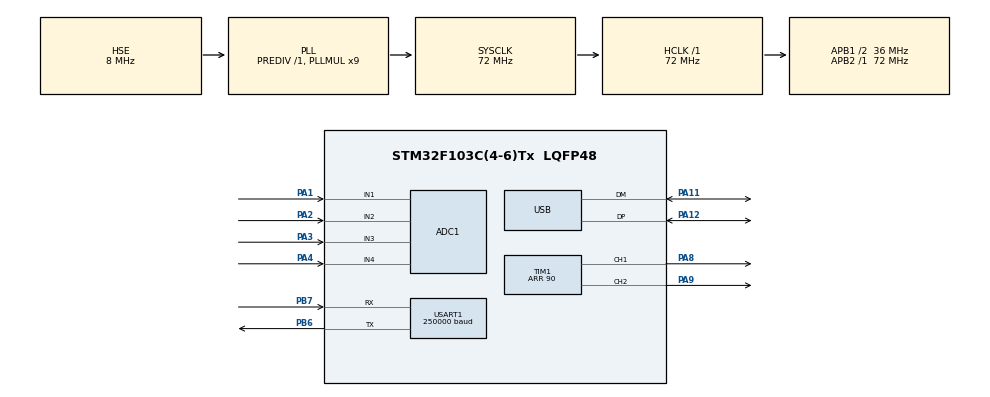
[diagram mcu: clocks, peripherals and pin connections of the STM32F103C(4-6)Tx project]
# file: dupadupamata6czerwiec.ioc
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ADC1.Channel-1\#ChannelRegularConversion=ADC_CHANNEL_1
ADC1.Channel-2\#ChannelRegularConversion=ADC_CHANNEL_2
ADC1.Channel-3\#ChannelRegularConversion=ADC_CHANNEL_3
ADC1.Channel-4\#ChannelRegularConversion=ADC_CHANNEL_4
ADC1.ContinuousConvMode=ENABLE
ADC1.NbrOfConversion=4
ADC1.NbrOfConversionFlag=1
ADC1.Rank-1\#ChannelRegularConversion=1
ADC1.Rank-2\#ChannelRegularConversion=2
ADC1.Rank-3\#ChannelRegularConversion=3
ADC1.Rank-4\#ChannelRegularConversion=4
ADC1.SamplingTime-1\#ChannelRegularConversion=ADC_SAMPLETIME_239CYCLES_5
ADC1.SamplingTime-2\#ChannelRegularConversion=ADC_SAMPLETIME_239CYCLES_5
ADC1.SamplingTime-3\#ChannelRegularConversion=ADC_SAMPLETIME_239CYCLES_5
ADC1.SamplingTime-4\#ChannelRegularConversion=ADC_SAMPLETIME_239CYCLES_5
ADC1.master=1
Dma.ADC1.0.Direction=DMA_PERIPH_TO_MEMORY
Dma.ADC1.0.Instance=DMA1_Channel1
Dma.ADC1.0.MemDataAlignment=DMA_MDATAALIGN_HALFWORD
Dma.ADC1.0.MemInc=DMA_MINC_ENABLE
Dma.ADC1.0.Mode=DMA_CIRCULAR
Dma.ADC1.0.PeriphDataAlignment=DMA_PDATAALIGN_HALFWORD
Dma.ADC1.0.PeriphInc=DMA_PINC_DISABLE
Dma.ADC1.0.Priority=DMA_PRIORITY_LOW
Dma.Request0=ADC1
Dma.Request1=TIM1_CH1
Dma.Request2=TIM1_CH2
Dma.TIM1_CH1.1.Direction=DMA_MEMORY_TO_PERIPH
Dma.TIM1_CH1.1.Instance=DMA1_Channel2
Dma.TIM1_CH1.1.MemDataAlignment=DMA_MDATAALIGN_HALFWORD
Dma.TIM1_CH1.1.MemInc=DMA_MINC_ENABLE
Dma.TIM1_CH1.1.Mode=DMA_CIRCULAR
Dma.TIM1_CH1.1.PeriphDataAlignment=DMA_PDATAALIGN_HALFWORD
Dma.TIM1_CH1.1.PeriphInc=DMA_PINC_DISABLE
Dma.TIM1_CH1.1.Priority=DMA_PRIORITY_LOW
Dma.TIM1_CH2.2.Direction=DMA_MEMORY_TO_PERIPH
Dma.TIM1_CH2.2.Instance=DMA1_Channel3
Dma.TIM1_CH2.2.MemDataAlignment=DMA_MDATAALIGN_HALFWORD
Dma.TIM1_CH2.2.MemInc=DMA_MINC_ENABLE
Dma.TIM1_CH2.2.Mode=DMA_CIRCULAR
Dma.TIM1_CH2.2.PeriphDataAlignment=DMA_PDATAALIGN_HALFWORD
Dma.TIM1_CH2.2.PeriphInc=DMA_PINC_DISABLE
Dma.TIM1_CH2.2.Priority=DMA_PRIORITY_LOW
Mcu.Family=STM32F1
Mcu.Name=STM32F103C(4-6)Tx
Mcu.Package=LQFP48
NVIC.DMA1_Channel1_IRQn=true\:0\:0\:false\:false\:true\:false\:true\:true
NVIC.DMA1_Channel2_IRQn=true\:0\:0\:false\:false\:true\:false\:true\:true
NVIC.DMA1_Channel3_IRQn=true\:0\:0\:false\:false\:true\:false\:true\:true
NVIC.PriorityGroup=NVIC_PRIORITYGROUP_4
NVIC.USART1_IRQn=true\:0\:0\:false\:false\:true\:true\:true\:true
NVIC.USB_LP_CAN1_RX0_IRQn=true\:0\:0\:false\:false\:true\:false\:true\:true
PA1.Signal=ADCx_IN1
PA11.Mode=Device
PA11.Signal=USB_DM
PA12.Mode=Device
PA12.Signal=USB_DP
PA13.Mode=Serial_Wire
PA13.Signal=SYS_JTMS-SWDIO
PA14.Mode=Serial_Wire
PA14.Signal=SYS_JTCK-SWCLK
PA2.Signal=ADCx_IN2
PA3.Signal=ADCx_IN3
PA4.Signal=ADCx_IN4
PA8.Signal=S_TIM1_CH1
PA9.Signal=S_TIM1_CH2
PB6.Mode=Asynchronous
PB6.Signal=USART1_TX
PB7.Mode=Asynchronous
PB7.Signal=USART1_RX
PD0-OSC_IN.Mode=HSE-External-Oscillator
PD0-OSC_IN.Signal=RCC_OSC_IN
PD1-OSC_OUT.Mode=HSE-External-Oscillator
PD1-OSC_OUT.Signal=RCC_OSC_OUT
ProjectManager.HeapSize=0x200
ProjectManager.StackSize=0x400
ProjectManager.TargetToolchain=STM32CubeIDE
RCC.ADCPresc=RCC_ADCPCLK2_DIV6
RCC.AHBFreq_Value=72000000
RCC.APB1CLKDivider=RCC_HCLK_DIV2
RCC.APB1Freq_Value=36000000
RCC.APB1TimFreq_Value=72000000
RCC.APB2Freq_Value=72000000
RCC.APB2TimFreq_Value=72000000
RCC.HCLKFreq_Value=72000000
RCC.PLLMUL=RCC_PLL_MUL9
RCC.PLLSourceVirtual=RCC_PLLSOURCE_HSE
RCC.SYSCLKFreq_VALUE=72000000
RCC.SYSCLKSource=RCC_SYSCLKSOURCE_PLLCLK
RCC.USBFreq_Value=48000000
RCC.USBPrescaler=RCC_USBCLKSOURCE_PLL_DIV1_5
SH.ADCx_IN1.0=ADC1_IN1,IN1
SH.ADCx_IN2.0=ADC1_IN2,IN2
SH.ADCx_IN3.0=ADC1_IN3,IN3
SH.ADCx_IN4.0=ADC1_IN4,IN4
SH.S_TIM1_CH1.0=TIM1_CH1,PWM Generation1 CH1
SH.S_TIM1_CH2.0=TIM1_CH2,PWM Generation2 CH2
TIM1.Channel-PWM\ Generation1\ CH1=TIM_CHANNEL_1
TIM1.Channel-PWM\ Generation2\ CH2=TIM_CHANNEL_2
TIM1.OC1Preload_PWM=ENABLE
TIM1.Period=90
USART1.BaudRate=250000
USART1.VirtualMode=VM_ASYNC
USB_DEVICE.CLASS_NAME_FS=CUSTOM_HID
USB_DEVICE.CONFIGURATION_STRING_CUSTOMHID_FS=KAMIKAZE
USB_DEVICE.CUSTOM_HID_FS_BINTERVAL=0x01
USB_DEVICE.INTERFACE_STRING_CUSTOMHID_FS=DO DUPY\!
USB_DEVICE.MANUFACTURER_STRING=JAKUBOS BASEMENTO
USB_DEVICE.PID_CUSTOMHID_FS=6
USB_DEVICE.PRODUCT_STRING_CUSTOMHID_FS=LEKKA DESECZKA
USB_DEVICE.USBD_CUSTOM_HID_REPORT_DESC_SIZE=32
USB_DEVICE.USBD_MAX_NUM_INTERFACES=2
USB_DEVICE.VID=79
USB_DEVICE.VirtualMode=CustomHid
USB_DEVICE.VirtualModeFS=Custom_Hid_FS
VP_TIM1_VS_ClockSourceINT.Mode=Internal
VP_USB_DEVICE_VS_USB_DEVICE_CUSTOM_HID_FS.Mode=CUSTOM_HID_FS
board=custom

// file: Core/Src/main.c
/* USER CODE BEGIN Header */
/**
 ******************************************************************************
 * @file           : main.c
 * @brief          : Main program body
 ******************************************************************************
 * @attention
 *
 * Copyright (c) 2023 STMicroelectronics.
 * All rights reserved.
 *
 * This software is licensed under terms that can be found in the LICENSE file
 * in the root directory of this software component.
 * If no LICENSE file comes with this software, it is provided AS-IS.
 *
 ******************************************************************************
 */
/* USER CODE END Header */
#include "main.h"
#include "usb_device.h"

/* USER CODE BEGIN Includes */
// #include "TempLeds.h"
#include "Leds.h"
#include <memory.h>
#include <stdio.h>
#include "usbd_customhid.h"

/* USER CODE END Includes */

/* USER CODE BEGIN PTD */
extern USBD_HandleTypeDef hUsbDeviceFS;
/* USER CODE END PTD */

/* USER CODE BEGIN PD */
#define ADC_CHANNEL_COUNT 4
#define ADC_DMA_BUFFER_SIZE (ADC_CHANNEL_COUNT)
#define SECTION_CHANNEL_UP 1
#define SECTION_CHANNEL_DOWN 0
#define SECTION_CHANNEL_LEFT 0
#define SECTION_CHANNEL_RIGHT 1
#define SECTION_CHANNEL_CENTER 1

#define SECTION_INDEX_UP 0
#define SECTION_INDEX_DOWN 1
#define SECTION_INDEX_LEFT 0
#define SECTION_INDEX_RIGHT 1
#define SECTION_INDEX_CENTER 2

#define ADC_INDEX_UP 0
#define ADC_INDEX_DOWN 2
#define ADC_INDEX_LEFT 3
#define ADC_INDEX_RIGHT 1

#define ADC_HYSTERESIS 20
#define ADC_MINIMAL_UP 2550
#define ADC_MINIMAL_DOWN 1800
#define ADC_MINIMAL_LEFT 1550
#define ADC_MINIMAL_RIGHT 2200
// #define ADC_MINIMAL_UP 4000
// #define ADC_MINIMAL_DOWN 4000
// #define ADC_MINIMAL_LEFT 2600
// #define ADC_MINIMAL_RIGHT 4000

static_assert(ADC_INDEX_UP != ADC_INDEX_DOWN);
static_assert(ADC_INDEX_DOWN != ADC_INDEX_LEFT);
static_assert(ADC_INDEX_LEFT != ADC_INDEX_RIGHT);
static_assert(ADC_INDEX_RIGHT != ADC_INDEX_UP);

static_assert(ADC_INDEX_UP < ADC_CHANNEL_COUNT);
static_assert(ADC_INDEX_DOWN < ADC_CHANNEL_COUNT);
static_assert(ADC_INDEX_LEFT < ADC_CHANNEL_COUNT);
static_assert(ADC_INDEX_RIGHT < ADC_CHANNEL_COUNT);
/* USER CODE END PD */

/* USER CODE BEGIN PM */

#define GET_INDEX_FROM_CHANNEL(CHANNEL) (CHANNEL / (TIM_CHANNEL_2 - TIM_CHANNEL_1))

/* USER CODE END PM */

ADC_HandleTypeDef hadc1;
DMA_HandleTypeDef hdma_adc1;

TIM_HandleTypeDef htim1;
DMA_HandleTypeDef hdma_tim1_ch1;
DMA_HandleTypeDef hdma_tim1_ch2;

UART_HandleTypeDef huart1;

/* USER CODE BEGIN PV */
uint16_t gAdcBuffer[ADC_DMA_BUFFER_SIZE];
uint16_t gAdcMinimalValues[ADC_CHANNEL_COUNT];
uint8_t gAdcToSectionMapping[ADC_CHANNEL_COUNT];
uint8_t gAdcToChannelMapping[ADC_CHANNEL_COUNT];
/* USER CODE END PV */

void SystemClock_Config(void);
static void MX_GPIO_Init(void);
static void MX_DMA_Init(void);
static void MX_ADC1_Init(void);
static void MX_TIM1_Init(void);
static void MX_USART1_UART_Init(void);

/* USER CODE BEGIN 0 */

uint16_t gLedBuffer1[24 * 12];
uint16_t gLedBuffer2[24 * 12];

void StartLedDma1() {
  HAL_TIM_PWM_Start_DMA(&htim1, TIM_CHANNEL_1, (uint32_t *)gLedBuffer1, sizeof(gLedBuffer1) / sizeof(gLedBuffer1[0]));
}

void StartLedDma2() {
  HAL_TIM_PWM_Start_DMA(&htim1, TIM_CHANNEL_2, (uint32_t *)gLedBuffer2, sizeof(gLedBuffer2) / sizeof(gLedBuffer2[0]));
}

struct
{
  union
  {
    uint8_t value;
    struct
    {
      uint8_t first : 1;
      uint8_t second : 1;
      uint8_t third : 1;
      uint8_t fourth : 1;
    };
  };
} gButtonState;

uint8_t CountLedDma1 = 0;
uint8_t CountLedDma2 = 0;

void HandleLedInterrupt(TIM_HandleTypeDef *htim) {
  if (htim != &htim1) {
    return;
  }

  if (htim->Channel == HAL_TIM_ACTIVE_CHANNEL_1) {
    if (CountLedDma1 == 3) {
      HAL_TIM_PWM_Stop_DMA(htim, TIM_CHANNEL_1);
      CountLedDma1 = 0;
    } else {
      CountLedDma1 += FillHalfBuffer(0);
    }
  } else if (htim->Channel == HAL_TIM_ACTIVE_CHANNEL_2) {
    if (CountLedDma2) {
      HAL_TIM_PWM_Stop_DMA(htim, TIM_CHANNEL_2);
      CountLedDma2 = 0;
    } else {
      CountLedDma2 += FillHalfBuffer(1);
    }
  }
}

void HAL_TIM_PWM_PulseFinishedCallback(TIM_HandleTypeDef *htim) {
  HandleLedInterrupt (htim);
}

void HAL_TIM_PWM_PulseFinishedHalfCpltCallback(TIM_HandleTypeDef *htim) {
  HandleLedInterrupt (htim);
}

#define ADC_MINIMUM_VALUE 800

uint32_t gAdcLastClick[ADC_CHANNEL_COUNT];
#define DEBOUNCE_TIME 40

void AdcInitializeData(void) {
  memset(&gAdcBuffer, 0, sizeof(gAdcBuffer));
  memset(&gAdcLastClick, 0, sizeof(gAdcLastClick));
  gAdcMinimalValues[ADC_INDEX_UP] = ADC_MINIMAL_UP;
  gAdcMinimalValues[ADC_INDEX_DOWN] = ADC_MINIMAL_DOWN;
  gAdcMinimalValues[ADC_INDEX_LEFT] = ADC_MINIMAL_LEFT;
  gAdcMinimalValues[ADC_INDEX_RIGHT] = ADC_MINIMAL_RIGHT;
  gAdcToSectionMapping[ADC_INDEX_UP] = SECTION_INDEX_UP;
  gAdcToSectionMapping[ADC_INDEX_DOWN] = SECTION_INDEX_DOWN;
  gAdcToSectionMapping[ADC_INDEX_LEFT] = SECTION_INDEX_LEFT;
  gAdcToSectionMapping[ADC_INDEX_RIGHT] = SECTION_INDEX_RIGHT;
  gAdcToChannelMapping[ADC_INDEX_UP] = SECTION_CHANNEL_UP;
  gAdcToChannelMapping[ADC_INDEX_DOWN] = SECTION_CHANNEL_DOWN;
  gAdcToChannelMapping[ADC_INDEX_LEFT] = SECTION_CHANNEL_LEFT;
  gAdcToChannelMapping[ADC_INDEX_RIGHT] = SECTION_CHANNEL_RIGHT;
}

uint8_t GetButtonState(uint8_t Channel) {
  if (gButtonState.value & (1 << Channel)) {
    if (HAL_GetTick() - gAdcLastClick[Channel] > DEBOUNCE_TIME) {
      if (gAdcBuffer[Channel] <= (gAdcMinimalValues[Channel] - ADC_HYSTERESIS)) {
        gButtonState.value = gButtonState.value ^ (1 << Channel);
        return 0;
      }
    }
  } else {
    if (gAdcBuffer[Channel] >= gAdcMinimalValues[Channel]) {
      gAdcLastClick[Channel] = HAL_GetTick();
      gButtonState.value = gButtonState.value | (1 << Channel);
      return 1;
    }
  }
  return 0xFF;
}

void HAL_ADC_ConvCpltCallback(ADC_HandleTypeDef *hadc) {
  uint8_t AdcChannel;
  uint8_t DmaChannel;
  uint8_t Section;
  uint8_t ButtonState;
  uint8_t UpdateUsb;

  UpdateUsb = 0;
  for (AdcChannel = 0; AdcChannel < ADC_CHANNEL_COUNT; AdcChannel++) {
    Section = gAdcToSectionMapping[AdcChannel];
    DmaChannel = gAdcToChannelMapping[AdcChannel];
    ButtonState = GetButtonState(AdcChannel);
    if (ButtonState == 1) {
      GetLedSection(DmaChannel, Section)->Color = (COLOR_RGB){63, 236, 24};
      UpdateUsb = 1;
    } else if (ButtonState == 0) {
      GetLedSection(DmaChannel, Section)->Color = (COLOR_RGB){139, 0, 155};
      UpdateUsb = 1;
    }
  }
  if (UpdateUsb) {
    USBD_CUSTOM_HID_SendReport(&hUsbDeviceFS, (uint8_t *)&gButtonState, sizeof(gButtonState));
    if (hdma_tim1_ch1.State == HAL_DMA_STATE_READY) {
      if (PrepareBufferForTransaction(0) != 0) {
        StartLedDma1();
      }
    }
    if (hdma_tim1_ch2.State == HAL_DMA_STATE_READY) {
      if (PrepareBufferForTransaction(1) != 0) {
        StartLedDma2();
      }
    }
  }
}

/* USER CODE END 0 */

int main(void)
{

  /* MCU Configuration--------------------------------------------------------*/

  /* Reset of all peripherals, Initializes the Flash interface and the Systick. */
  HAL_Init();

  /* Configure the system clock */
  SystemClock_Config();

  /* Initialize all configured peripherals */
  MX_GPIO_Init();
  MX_DMA_Init();
  MX_ADC1_Init();
  MX_TIM1_Init();
  MX_USB_DEVICE_Init();
  MX_USART1_UART_Init();
  /* USER CODE BEGIN 2 */
  AdcInitializeData();
  InitializeConfigs(2); // 2 DMA channels
  uint8_t LedAmountSection1[] = {18, 18};
  uint8_t LedAmountSection2[] = {18, 18, 24};
  InitializeConfig(0, 2, LedAmountSection1, gLedBuffer1, sizeof(gLedBuffer1) / sizeof(gLedBuffer1[0]));
  InitializeConfig(1, 3, LedAmountSection2, gLedBuffer2, sizeof(gLedBuffer2) / sizeof(gLedBuffer2[0]));
  GetLedSection(0, 0)->Color = (COLOR_RGB){255, 255, 255};
  GetLedSection(0, 1)->Color = (COLOR_RGB){255, 255, 255};
  GetLedSection(1, 0)->Color = (COLOR_RGB){255, 255, 255};
  GetLedSection(1, 1)->Color = (COLOR_RGB){255, 255, 255};
  GetLedSection(1, 2)->Color = (COLOR_RGB){255, 0, 255};

  gButtonState.value = 0;
  HAL_ADC_Start_DMA(&hadc1, (uint32_t *)gAdcBuffer, ADC_DMA_BUFFER_SIZE); // start adc in DMA mode
  PrepareBufferForTransaction(0);
  StartLedDma1();
  PrepareBufferForTransaction(1);
  StartLedDma2();
  uint8_t StartMessage[] = "Up and running\r\n";
  HAL_UART_Transmit(&huart1, StartMessage, sizeof(StartMessage), 100);
  HAL_Delay(500);

  HAL_PWR_EnableSleepOnExit();
  HAL_PWR_EnterSLEEPMode(0, PWR_SLEEPENTRY_WFI);
  /* USER CODE END 2 */

  /* Infinite loop */
  /* USER CODE BEGIN WHILE */
  while (1)
  {
// #define MINE_DEBUG
#ifdef MINE_DEBUG
    HAL_Delay(20);
    uint8_t message[35] = "";
    uint8_t size = 0;
    size = snprintf(message, 35, "up:%d,ri:%d,do:%d,le:%d\n", gAdcBuffer[0], gAdcBuffer[1], gAdcBuffer[2], gAdcBuffer[3]);
    if (size > 0)
    {
      HAL_UART_Transmit_IT(&huart1, message, size);
    }
#endif // MINE_DEBUG
    /* USER CODE END WHILE */

  }
}

void SystemClock_Config(void)
{
  RCC_OscInitTypeDef RCC_OscInitStruct = {0};
  RCC_ClkInitTypeDef RCC_ClkInitStruct = {0};
  RCC_PeriphCLKInitTypeDef PeriphClkInit = {0};

  /** Initializes the RCC Oscillators according to the specified parameters
  * in the RCC_OscInitTypeDef structure.
  */
  RCC_OscInitStruct.OscillatorType = RCC_OSCILLATORTYPE_HSE;
  RCC_OscInitStruct.HSEState = RCC_HSE_ON;
  RCC_OscInitStruct.HSEPredivValue = RCC_HSE_PREDIV_DIV1;
  RCC_OscInitStruct.HSIState = RCC_HSI_ON;
  RCC_OscInitStruct.PLL.PLLState = RCC_PLL_ON;
  RCC_OscInitStruct.PLL.PLLSource = RCC_PLLSOURCE_HSE;
  RCC_OscInitStruct.PLL.PLLMUL = RCC_PLL_MUL9;
  if (HAL_RCC_OscConfig(&RCC_OscInitStruct) != HAL_OK)
  {
    Error_Handler();
  }

  /** Initializes the CPU, AHB and APB buses clocks
  */
  RCC_ClkInitStruct.ClockType = RCC_CLOCKTYPE_HCLK|RCC_CLOCKTYPE_SYSCLK
                              |RCC_CLOCKTYPE_PCLK1|RCC_CLOCKTYPE_PCLK2;
  RCC_ClkInitStruct.SYSCLKSource = RCC_SYSCLKSOURCE_PLLCLK;
  RCC_ClkInitStruct.AHBCLKDivider = RCC_SYSCLK_DIV1;
  RCC_ClkInitStruct.APB1CLKDivider = RCC_HCLK_DIV2;
  RCC_ClkInitStruct.APB2CLKDivider = RCC_HCLK_DIV1;

  if (HAL_RCC_ClockConfig(&RCC_ClkInitStruct, FLASH_LATENCY_2) != HAL_OK)
  {
    Error_Handler();
  }
  PeriphClkInit.PeriphClockSelection = RCC_PERIPHCLK_ADC|RCC_PERIPHCLK_USB;
  PeriphClkInit.AdcClockSelection = RCC_ADCPCLK2_DIV6;
  PeriphClkInit.UsbClockSelection = RCC_USBCLKSOURCE_PLL_DIV1_5;
  if (HAL_RCCEx_PeriphCLKConfig(&PeriphClkInit) != HAL_OK)
  {
    Error_Handler();
  }
}

static void MX_ADC1_Init(void)
{

  ADC_ChannelConfTypeDef sConfig = {0};

  /** Common config
  */
  hadc1.Instance = ADC1;
  hadc1.Init.ScanConvMode = ADC_SCAN_ENABLE;
  hadc1.Init.ContinuousConvMode = ENABLE;
  hadc1.Init.DiscontinuousConvMode = DISABLE;
  hadc1.Init.ExternalTrigConv = ADC_SOFTWARE_START;
  hadc1.Init.DataAlign = ADC_DATAALIGN_RIGHT;
  hadc1.Init.NbrOfConversion = 4;
  if (HAL_ADC_Init(&hadc1) != HAL_OK)
  {
    Error_Handler();
  }

  /** Configure Regular Channel
  */
  sConfig.Channel = ADC_CHANNEL_1;
  sConfig.Rank = ADC_REGULAR_RANK_1;
  sConfig.SamplingTime = ADC_SAMPLETIME_239CYCLES_5;
  if (HAL_ADC_ConfigChannel(&hadc1, &sConfig) != HAL_OK)
  {
    Error_Handler();
  }

  /** Configure Regular Channel
  */
  sConfig.Channel = ADC_CHANNEL_2;
  sConfig.Rank = ADC_REGULAR_RANK_2;
  if (HAL_ADC_ConfigChannel(&hadc1, &sConfig) != HAL_OK)
  {
    Error_Handler();
  }

  /** Configure Regular Channel
  */
  sConfig.Channel = ADC_CHANNEL_3;
  sConfig.Rank = ADC_REGULAR_RANK_3;
  if (HAL_ADC_ConfigChannel(&hadc1, &sConfig) != HAL_OK)
  {
    Error_Handler();
  }

  /** Configure Regular Channel
  */
  sConfig.Channel = ADC_CHANNEL_4;
  sConfig.Rank = ADC_REGULAR_RANK_4;
  if (HAL_ADC_ConfigChannel(&hadc1, &sConfig) != HAL_OK)
  {
    Error_Handler();
  }

}

static void MX_TIM1_Init(void)
{

  TIM_ClockConfigTypeDef sClockSourceConfig = {0};
  TIM_MasterConfigTypeDef sMasterConfig = {0};
  TIM_OC_InitTypeDef sConfigOC = {0};
  TIM_BreakDeadTimeConfigTypeDef sBreakDeadTimeConfig = {0};

  htim1.Instance = TIM1;
  htim1.Init.Prescaler = 0;
  htim1.Init.CounterMode = TIM_COUNTERMODE_UP;
  htim1.Init.Period = 90;
  htim1.Init.ClockDivision = TIM_CLOCKDIVISION_DIV1;
  htim1.Init.RepetitionCounter = 0;
  htim1.Init.AutoReloadPreload = TIM_AUTORELOAD_PRELOAD_DISABLE;
  if (HAL_TIM_Base_Init(&htim1) != HAL_OK)
  {
    Error_Handler();
  }
  sClockSourceConfig.ClockSource = TIM_CLOCKSOURCE_INTERNAL;
  if (HAL_TIM_ConfigClockSource(&htim1, &sClockSourceConfig) != HAL_OK)
  {
    Error_Handler();
  }
  if (HAL_TIM_PWM_Init(&htim1) != HAL_OK)
  {
    Error_Handler();
  }
  sMasterConfig.MasterOutputTrigger = TIM_TRGO_RESET;
  sMasterConfig.MasterSlaveMode = TIM_MASTERSLAVEMODE_DISABLE;
  if (HAL_TIMEx_MasterConfigSynchronization(&htim1, &sMasterConfig) != HAL_OK)
  {
    Error_Handler();
  }
  sConfigOC.OCMode = TIM_OCMODE_PWM1;
  sConfigOC.Pulse = 0;
  sConfigOC.OCPolarity = TIM_OCPOLARITY_HIGH;
  sConfigOC.OCNPolarity = TIM_OCNPOLARITY_HIGH;
  sConfigOC.OCFastMode = TIM_OCFAST_DISABLE;
  sConfigOC.OCIdleState = TIM_OCIDLESTATE_RESET;
  sConfigOC.OCNIdleState = TIM_OCNIDLESTATE_RESET;
  if (HAL_TIM_PWM_ConfigChannel(&htim1, &sConfigOC, TIM_CHANNEL_1) != HAL_OK)
  {
    Error_Handler();
  }
  if (HAL_TIM_PWM_ConfigChannel(&htim1, &sConfigOC, TIM_CHANNEL_2) != HAL_OK)
  {
    Error_Handler();
  }
  sBreakDeadTimeConfig.OffStateRunMode = TIM_OSSR_DISABLE;
  sBreakDeadTimeConfig.OffStateIDLEMode = TIM_OSSI_DISABLE;
  sBreakDeadTimeConfig.LockLevel = TIM_LOCKLEVEL_OFF;
  sBreakDeadTimeConfig.DeadTime = 0;
  sBreakDeadTimeConfig.BreakState = TIM_BREAK_DISABLE;
  sBreakDeadTimeConfig.BreakPolarity = TIM_BREAKPOLARITY_HIGH;
  sBreakDeadTimeConfig.AutomaticOutput = TIM_AUTOMATICOUTPUT_DISABLE;
  if (HAL_TIMEx_ConfigBreakDeadTime(&htim1, &sBreakDeadTimeConfig) != HAL_OK)
  {
    Error_Handler();
  }
  HAL_TIM_MspPostInit(&htim1);

}

static void MX_USART1_UART_Init(void)
{

  huart1.Instance = USART1;
  huart1.Init.BaudRate = 250000;
  huart1.Init.WordLength = UART_WORDLENGTH_8B;
  huart1.Init.StopBits = UART_STOPBITS_1;
  huart1.Init.Parity = UART_PARITY_NONE;
  huart1.Init.Mode = UART_MODE_TX_RX;
  huart1.Init.HwFlowCtl = UART_HWCONTROL_NONE;
  huart1.Init.OverSampling = UART_OVERSAMPLING_16;
  if (HAL_UART_Init(&huart1) != HAL_OK)
  {
    Error_Handler();
  }

}

static void MX_DMA_Init(void)
{

  /* DMA controller clock enable */
  __HAL_RCC_DMA1_CLK_ENABLE();

  /* DMA interrupt init */
  /* DMA1_Channel1_IRQn interrupt configuration */
  HAL_NVIC_SetPriority(DMA1_Channel1_IRQn, 0, 0);
  HAL_NVIC_EnableIRQ(DMA1_Channel1_IRQn);
  /* DMA1_Channel2_IRQn interrupt configuration */
  HAL_NVIC_SetPriority(DMA1_Channel2_IRQn, 0, 0);
  HAL_NVIC_EnableIRQ(DMA1_Channel2_IRQn);
  /* DMA1_Channel3_IRQn interrupt configuration */
  HAL_NVIC_SetPriority(DMA1_Channel3_IRQn, 0, 0);
  HAL_NVIC_EnableIRQ(DMA1_Channel3_IRQn);

}

static void MX_GPIO_Init(void)
{

  /* GPIO Ports Clock Enable */
  __HAL_RCC_GPIOD_CLK_ENABLE();
  __HAL_RCC_GPIOA_CLK_ENABLE();
  __HAL_RCC_GPIOB_CLK_ENABLE();

}

void Error_Handler(void)
{
  __disable_irq();
  while (1)
  {
  }
}
